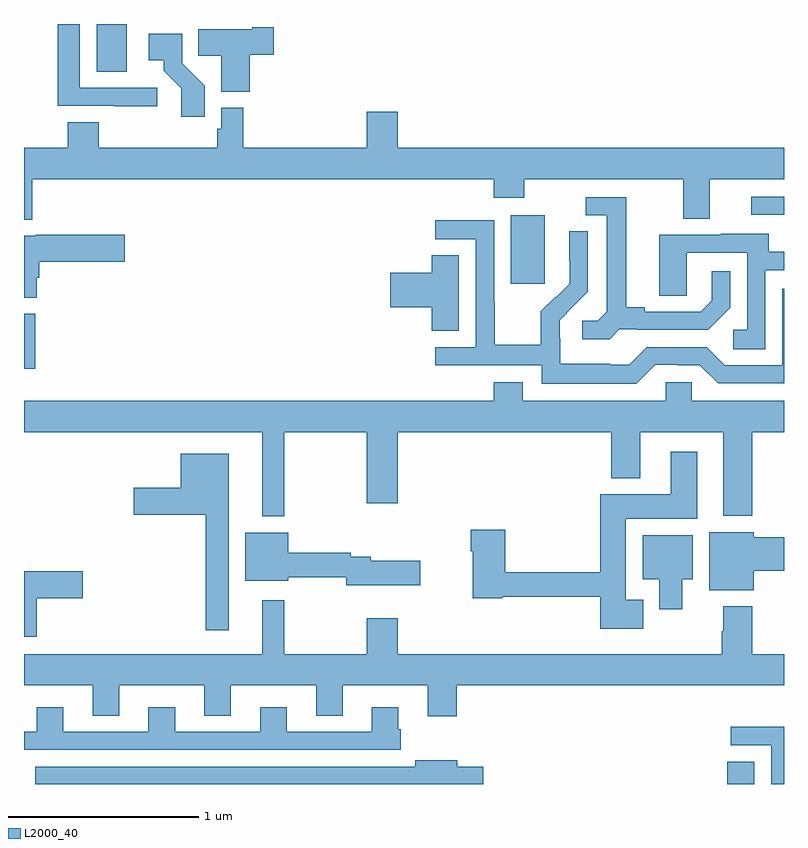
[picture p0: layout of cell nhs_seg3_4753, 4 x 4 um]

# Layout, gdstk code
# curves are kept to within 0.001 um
import gdstk
lib = gdstk.Library(unit=1e-6, precision=1e-09)
def R(c, l, rs):  # rectangles x0, y0, x1, y1
    for r in rs: c.add(gdstk.rectangle(r[:2], r[2:], *l))
def P(c, l, *ps):  # polygons
    for p in ps: c.add(gdstk.Polygon(p, *l))
L2000_40 = (2000, 40)

nhs_seg3_4753 = lib.new_cell('nhs_seg3_4753')
R(nhs_seg3_4753, L2000_40, [(370.7,696.4,370.843,696.518), (367,698.586,367.058,698.875), (369.563,699.033,369.742,699.394), (370.827,699.396,371,699.492), (367.382,700.15,367.54,700.4)])
P(nhs_seg3_4753, L2000_40, [(367.702,700.065),(367.293,700.065),(367.293,700.4),(367.177,700.4),(367.177,699.969),(367.477,699.969),(367.477,699.967),(367.702,699.967)],
  [(368.189,700.238),(368.314,700.238),(368.314,700.384),(368.201,700.384),(368.201,700.372),(367.918,700.372),(367.918,700.234),(368.039,700.234),(368.039,700.043),(368.189,700.043)],
  [(367.952,700.074),(367.833,700.193),(367.833,700.348),(367.656,700.348),(367.656,700.208),(367.736,700.208),(367.736,700.153),(367.827,700.063),(367.827,699.912),(367.952,699.912)],
  [(367.043,699.584),(369.473,699.584),(369.473,699.485),(369.633,699.485),(369.633,699.584),(370.469,699.584),(370.469,699.376),(370.609,699.376),(370.609,699.584),(371,699.584),(371,699.748),(368.968,699.748),(368.968,699.937),(368.804,699.937),(368.804,699.748),(368.153,699.748),(368.153,699.958),(368.037,699.958),(368.037,699.849),(368.017,699.849),(368.017,699.748),(367.394,699.748),(367.394,699.884),(367.229,699.884),(367.229,699.748),(367,699.748),(367,699.371),(367.043,699.371)],
  [(370.134,698.793),(370.228,698.793),(370.228,698.79),(370.6,698.79),(370.716,698.906),(370.716,699.1),(370.619,699.1),(370.619,698.943),(370.562,698.886),(370.267,698.886),(370.267,698.909),(370.171,698.909),(370.171,699.489),(369.957,699.489),(369.957,699.393),(370.067,699.393),(370.067,698.885),(370.02,698.838),(369.939,698.838),(369.939,698.741),(370.082,698.741)],
  [(370.323,698.607),(370.439,698.607),(370.439,698.604),(370.557,698.604),(370.653,698.508),(371,698.508),(371,699.006),(370.992,699.006),(370.992,698.604),(370.689,698.604),(370.593,698.7),(370.278,698.7),(370.185,698.607),(370.085,698.607),(370.085,698.611),(369.822,698.611),(369.822,698.745),(369.82,698.745),(369.82,698.842),(369.966,698.99),(369.966,699.308),(369.87,699.308),(369.87,699.154),(369.872,699.154),(369.872,699.032),(369.801,698.961),(369.798,698.964),(369.721,698.887),(369.721,698.713),(369.477,698.713),(369.477,698.936),(369.474,698.936),(369.474,699.366),(369.165,699.366),(369.165,699.267),(369.378,699.267),(369.378,698.7),(369.165,698.7),(369.165,698.604),(369.726,698.604),(369.726,698.507),(370.223,698.507)],
  [(370.902,699.105),(371,699.105),(371,699.201),(370.921,699.201),(370.921,699.295),(370.667,699.295),(370.667,699.291),(370.343,699.291),(370.343,698.971),(370.488,698.971),(370.488,699.195),(370.806,699.195),(370.806,698.79),(370.734,698.79),(370.734,698.689),(370.902,698.689)],
  [(367.066,699.065),(367.079,699.065),(367.079,699.149),(367.531,699.149),(367.531,699.291),(367.062,699.291),(367.062,699.286),(367,699.286),(367,698.96),(367.066,698.96)],
  [(369.289,699.182),(369.146,699.182),(369.146,699.092),(368.928,699.092),(368.928,698.909),(369.146,698.909),(369.146,698.785),(369.289,698.785)],
  [(368.369,698.252),(368.804,698.252),(368.804,697.878),(368.968,697.878),(368.968,698.252),(370.091,698.252),(370.091,698.009),(370.243,698.009),(370.243,698.252),(370.679,698.252),(370.679,697.811),(370.832,697.811),(370.832,698.252),(371,698.252),(371,698.416),(370.515,698.416),(370.515,698.514),(370.377,698.514),(370.377,698.416),(369.625,698.416),(369.625,698.515),(369.473,698.515),(369.473,698.416),(367,698.416),(367,698.252),(368.255,698.252),(368.255,697.808),(368.369,697.808)],
  [(370.258,697.369),(370.168,697.369),(370.168,697.796),(370.543,697.796),(370.543,698.149),(370.403,698.149),(370.403,697.924),(370.034,697.924),(370.034,697.514),(369.533,697.514),(369.533,697.738),(369.35,697.738),(369.35,697.625),(369.362,697.625),(369.362,697.378),(369.516,697.378),(369.516,697.386),(370.034,697.386),(370.034,697.217),(370.258,697.217)],
  [(368.077,698.137),(367.826,698.137),(367.826,697.959),(367.578,697.959),(367.578,697.817),(367.956,697.817),(367.956,697.209),(368.077,697.209)],
  [(370.84,697.522),(371,697.522),(371,697.7),(370.84,697.7),(370.84,697.726),(370.607,697.726),(370.607,697.421),(370.84,697.421)],
  [(369.085,697.575),(368.824,697.575),(368.824,697.596),(368.72,697.596),(368.72,697.616),(368.392,697.616),(368.392,697.723),(368.165,697.723),(368.165,697.469),(368.392,697.469),(368.392,697.488),(368.696,697.488),(368.696,697.445),(369.085,697.445)],
  [(370.465,697.478),(370.519,697.478),(370.519,697.708),(370.256,697.708),(370.256,697.478),(370.343,697.478),(370.343,697.32),(370.465,697.32)],
  [(367.067,697.378),(367.309,697.378),(367.309,697.52),(367,697.52),(367,697.176),(367.067,697.176)],
  [(369.278,696.92),(371,696.92),(371,697.084),(370.832,697.084),(370.832,697.336),(370.679,697.336),(370.679,697.205),(370.672,697.205),(370.672,697.084),(368.968,697.084),(368.968,697.273),(368.804,697.273),(368.804,697.084),(368.369,697.084),(368.369,697.366),(368.255,697.366),(368.255,697.084),(367,697.084),(367,696.92),(367.361,696.92),(367.361,696.76),(367.501,696.76),(367.501,696.92),(367.949,696.92),(367.949,696.76),(368.089,696.76),(368.089,696.92),(368.537,696.92),(368.537,696.76),(368.677,696.76),(368.677,696.92),(369.125,696.92),(369.125,696.756),(369.278,696.756)],
  [(368.984,696.687),(368.971,696.687),(368.971,696.805),(368.831,696.805),(368.831,696.675),(368.383,696.675),(368.383,696.805),(368.243,696.805),(368.243,696.675),(367.795,696.675),(367.795,696.805),(367.655,696.805),(367.655,696.675),(367.207,696.675),(367.207,696.805),(367.067,696.805),(367.067,696.675),(367,696.675),(367,696.579),(368.984,696.579)],
  [(371,696.702),(370.719,696.702),(370.719,696.603),(370.932,696.603),(370.932,696.4),(371,696.4)],
  [(369.418,696.49),(369.28,696.49),(369.28,696.526),(369.059,696.526),(369.059,696.49),(367.059,696.49),(367.059,696.4),(369.418,696.4)])

lib.write_gds('nhs_seg3_4753.gds')
